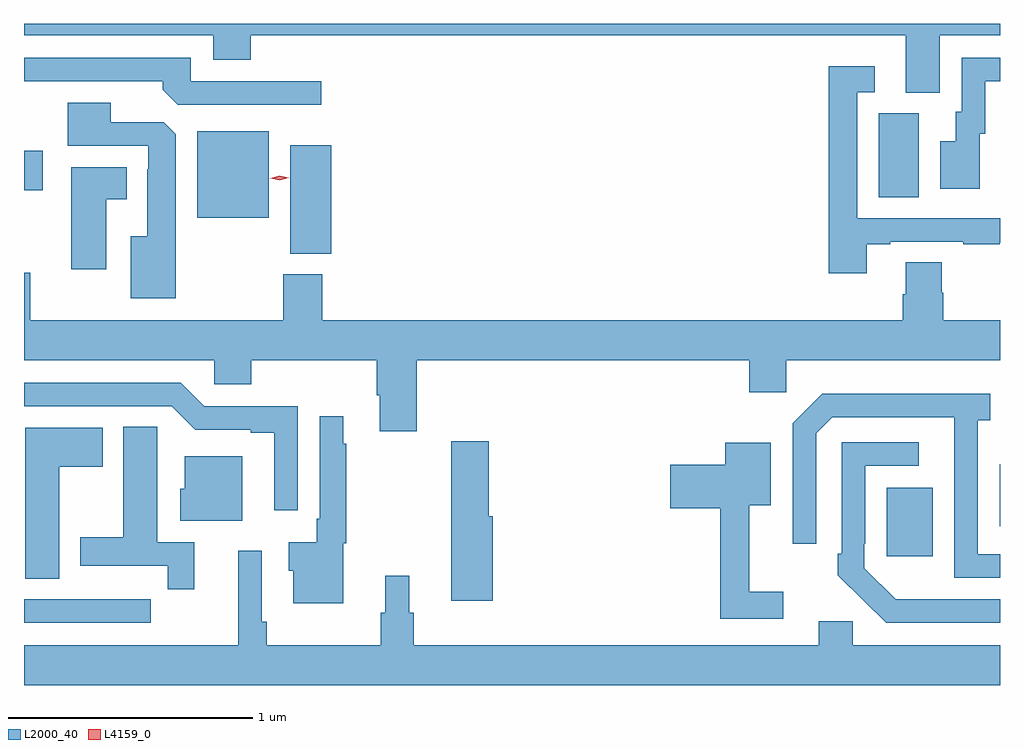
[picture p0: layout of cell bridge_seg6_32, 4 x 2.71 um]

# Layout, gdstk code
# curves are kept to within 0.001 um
import gdstk
lib = gdstk.Library(unit=1e-6, precision=1e-09)
def R(c, l, rs):  # rectangles x0, y0, x1, y1
    for r in rs: c.add(gdstk.rectangle(r[:2], r[2:], *l))
def P(c, l, *ps):  # polygons
    for p in ps: c.add(gdstk.Polygon(p, *l))
L2000_40 = (2000, 40)
L4159_0 = (4159, 0)

bridge_seg6_32 = lib.new_cell('bridge_seg6_32')
R(bridge_seg6_32, L2000_40, [(1097.975,995.817,1098.163,996.097), (1098.438,995.94,1098.439,996.194), (1095.53,997.057,1095.698,997.501), (1095.149,997.205,1095.442,997.558), (1097.942,997.288,1098.106,997.632), (1094.439,997.318,1094.515,997.48)])
P(bridge_seg6_32, L2000_40, [(1098.193,997.952),(1098.439,997.952),(1098.439,998),(1094.439,998),(1094.439,997.952),(1095.215,997.952),(1095.215,997.853),(1095.368,997.853),(1095.368,997.952),(1098.053,997.952),(1098.053,997.717),(1098.193,997.717)],
  [(1095.658,997.764),(1095.123,997.764),(1095.123,997.86),(1094.439,997.86),(1094.439,997.764),(1095.008,997.764),(1095.008,997.73),(1095.069,997.668),(1095.658,997.668)],
  [(1098.355,997.548),(1098.379,997.548),(1098.379,997.764),(1098.439,997.764),(1098.439,997.86),(1098.282,997.86),(1098.282,997.638),(1098.257,997.638),(1098.257,997.519),(1098.194,997.519),(1098.194,997.323),(1098.355,997.323)],
  [(1097.893,997.095),(1097.989,997.095),(1097.989,997.107),(1098.289,997.107),(1098.289,997.095),(1098.437,997.095),(1098.437,997.101),(1098.439,997.101),(1098.439,997.203),(1097.853,997.203),(1097.853,997.719),(1097.926,997.719),(1097.926,997.825),(1097.737,997.825),(1097.737,996.978),(1097.893,996.978)],
  [(1095.061,997.547),(1095.012,997.596),(1094.794,997.596),(1094.794,997.675),(1094.618,997.675),(1094.618,997.5),(1094.949,997.5),(1094.949,997.403),(1094.945,997.403),(1094.945,997.129),(1094.876,997.129),(1094.876,996.875),(1095.061,996.875)],
  [(1094.776,997.28),(1094.86,997.28),(1094.86,997.411),(1094.633,997.411),(1094.633,996.993),(1094.776,996.993)],
  [(1096.049,996.62),(1097.411,996.62),(1097.411,996.489),(1097.562,996.489),(1097.562,996.62),(1098.439,996.62),(1098.439,996.784),(1098.206,996.784),(1098.206,996.897),(1098.201,996.897),(1098.201,997.022),(1098.053,997.022),(1098.053,996.89),(1098.041,996.89),(1098.041,996.784),(1095.662,996.784),(1095.662,996.972),(1095.502,996.972),(1095.502,996.784),(1094.464,996.784),(1094.464,996.979),(1094.439,996.979),(1094.439,996.62),(1095.219,996.62),(1095.219,996.522),(1095.371,996.522),(1095.371,996.62),(1095.884,996.62),(1095.884,996.478),(1095.896,996.478),(1095.896,996.33),(1096.049,996.33)],
  [(1095.561,996.432),(1095.177,996.432),(1095.081,996.528),(1094.439,996.528),(1094.439,996.432),(1095.045,996.432),(1095.141,996.336),(1095.368,996.336),(1095.368,996.324),(1095.464,996.324),(1095.464,996.006),(1095.561,996.006)],
  [(1098.439,995.826),(1098.348,995.826),(1098.348,996.374),(1098.4,996.374),(1098.4,996.484),(1097.71,996.484),(1097.589,996.363),(1097.589,995.868),(1097.685,995.868),(1097.685,996.321),(1097.751,996.387),(1098.252,996.387),(1098.252,995.73),(1098.439,995.73)],
  [(1095.748,995.871),(1095.76,995.871),(1095.76,996.278),(1095.748,996.278),(1095.748,996.391),(1095.651,996.391),(1095.651,995.971),(1095.639,995.971),(1095.639,995.875),(1095.524,995.875),(1095.524,995.757),(1095.542,995.757),(1095.542,995.624),(1095.748,995.624)],
  [(1095.137,995.874),(1094.986,995.874),(1094.986,996.236),(1094.985,996.236),(1094.985,996.347),(1094.846,996.347),(1094.846,995.895),(1094.669,995.895),(1094.669,995.778),(1095.028,995.778),(1095.028,995.682),(1095.137,995.682)],
  [(1094.584,996.184),(1094.761,996.184),(1094.761,996.343),(1094.444,996.343),(1094.444,995.833),(1094.445,995.833),(1094.445,995.725),(1094.584,995.725)],
  [(1096.361,995.982),(1096.343,995.982),(1096.343,996.289),(1096.189,996.289),(1096.189,995.982),(1096.19,995.982),(1096.19,995.634),(1096.361,995.634)],
  [(1098.439,995.64),(1098.012,995.641),(1097.883,995.769),(1097.883,995.869),(1097.886,995.869),(1097.886,996.189),(1098.106,996.189),(1098.106,996.285),(1097.79,996.285),(1097.79,995.827),(1097.775,995.827),(1097.775,995.739),(1097.88,995.634),(1097.881,995.635),(1097.972,995.544),(1098.439,995.544)],
  [(1097.551,995.671),(1097.411,995.671),(1097.411,996.026),(1097.5,996.026),(1097.5,996.283),(1097.312,996.283),(1097.312,996.192),(1097.088,996.192),(1097.088,996.014),(1097.293,996.014),(1097.293,995.562),(1097.551,995.562)],
  [(1095.334,996.226),(1095.098,996.226),(1095.098,996.093),(1095.08,996.093),(1095.08,995.963),(1095.334,995.963)],
  [(1098.439,995.452),(1097.835,995.452),(1097.835,995.55),(1097.696,995.55),(1097.696,995.452),(1096.037,995.452),(1096.037,995.586),(1096.018,995.586),(1096.018,995.737),(1095.92,995.737),(1095.92,995.586),(1095.901,995.586),(1095.901,995.452),(1095.434,995.452),(1095.434,995.548),(1095.414,995.548),(1095.414,995.839),(1095.317,995.839),(1095.317,995.452),(1094.439,995.452),(1094.439,995.288),(1098.439,995.288)],
  [(1094.959,995.64),(1094.846,995.64),(1094.846,995.641),(1094.68,995.641),(1094.68,995.64),(1094.439,995.64),(1094.439,995.544),(1094.959,995.544)])
P(bridge_seg6_32, L4159_0, [(1095.487,997.358),(1095.449,997.367),(1095.449,997.367),(1095.449,997.367),(1095.487,997.377),(1095.525,997.368),(1095.525,997.368),(1095.525,997.368)])

lib.write_gds('bridge_seg6_32.gds')
